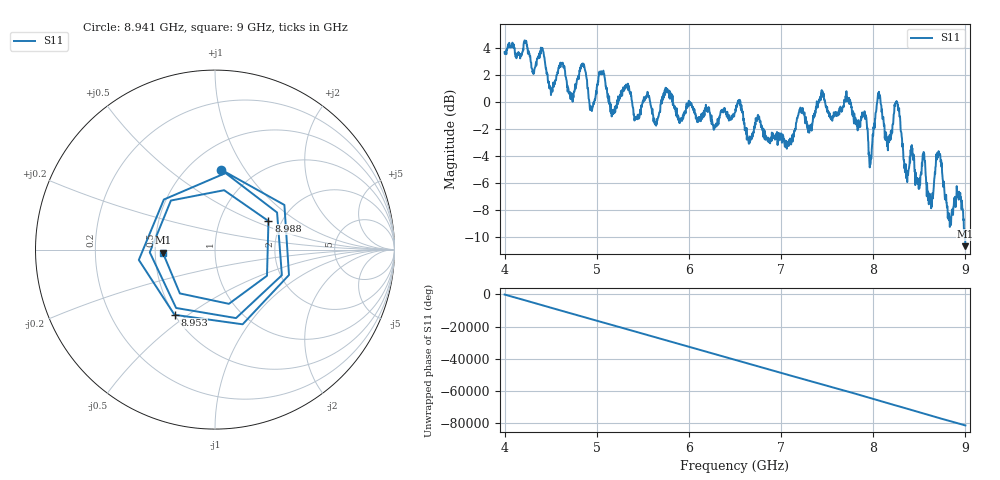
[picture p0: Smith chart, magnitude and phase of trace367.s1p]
! Created with skrf 1.8.0 (http://scikit-rf.org).
# Hz S RI R 50.0
!freq ReS11 ImS11
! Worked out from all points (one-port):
!   1601 points, 4 GHz to 9 GHz, reference 50 ohm
!   lowest |S11| = -10.7 dB at 9 GHz (marker M1), VSWR 1.82, Z = 27.4 - j0.995 ohm
!   |S11| at or under -10 dB: 8.992937 GHz to end of sweep
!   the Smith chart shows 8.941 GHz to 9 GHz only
!   S11 on the Smith chart (normalised r, x): 8.941 GHz: 0.71, +0.79; 8.953 GHz: 0.50, -0.44; 8.988 GHz: 1.71, +0.61; 9 GHz: 0.55, -0.02
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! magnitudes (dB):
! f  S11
! 4 GHz  3.7
! 4.406 GHz  3.9
! 4.509 GHz  0.9
! 4.625 GHz  2.9
! 4.722 GHz  0.3
! 4.847 GHz  2.9
! 4.944 GHz  -0.6
! 5.05 GHz  2.0
! 5.169 GHz  -0.9
! 5.25 GHz  0.5
! 5.875 GHz  -0.9
! 6.5 GHz  -0.8
! 7.125 GHz  -2.9
! 7.441 GHz  0.9
! 7.75 GHz  0.1
! 7.969 GHz  -4.6
! 8.056 GHz  0.5
! 8.159 GHz  -3.6
! 8.256 GHz  -0.1
! 8.375 GHz  -5.2
! 8.547 GHz  -3.7
! 8.625 GHz  -7.4
! 8.709 GHz  -3.7
! 8.825 GHz  -8.7
! 8.941 GHz  -7.0
! 8.953 GHz  -7.4
! 8.988 GHz  -9.4
! 9 GHz  -10.7
